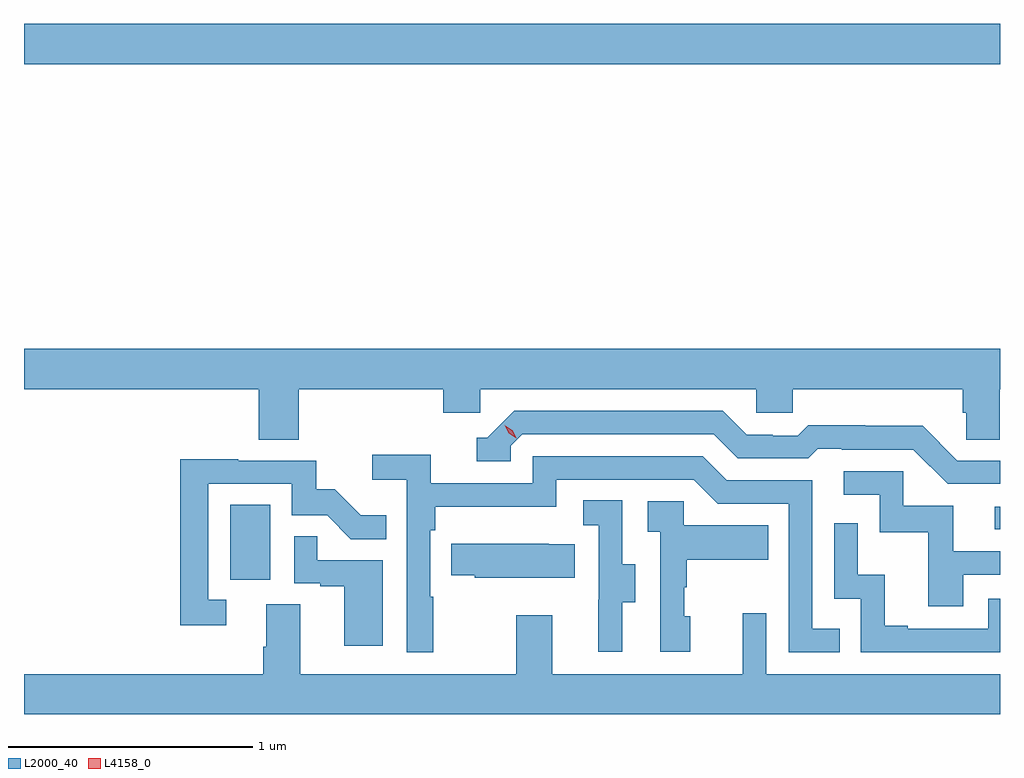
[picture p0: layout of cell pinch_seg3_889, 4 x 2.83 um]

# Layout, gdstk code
import gdstk
lib = gdstk.Library(unit=1e-6, precision=1e-09)
def R(c, l, rs):  # rectangles x0, y0, x1, y1
    for r in rs: c.add(gdstk.rectangle(r[:2], r[2:], *l))
def P(c, l, *ps):  # polygons
    for p in ps: c.add(gdstk.Polygon(p, *l))
L2000_40 = (2000, 40)
L4158_0 = (4158, 0)

pinch_seg3_889 = lib.new_cell('pinch_seg3_889')
R(pinch_seg3_889, L2000_40, [(875.498,702.798,875.662,703.105), (878.631,703.005,878.653,703.098), (874.653,704.912,878.653,705.076)])
P(pinch_seg3_889, L2000_40, [(875.78,703.58),(876.371,703.58),(876.371,703.482),(876.522,703.482),(876.522,703.58),(877.653,703.58),(877.653,703.482),(877.803,703.482),(877.803,703.58),(878.501,703.58),(878.501,703.482),(878.515,703.482),(878.515,703.372),(878.652,703.372),(878.652,703.58),(878.653,703.58),(878.653,703.744),(874.653,703.744),(874.653,703.58),(875.615,703.58),(875.615,703.372),(875.78,703.372)],
  [(878.653,703.287),(878.478,703.287),(878.336,703.429),(878.1,703.429),(878.1,703.432),(877.867,703.432),(877.825,703.389),(877.722,703.389),(877.722,703.392),(877.615,703.392),(877.516,703.491),(876.663,703.491),(876.552,703.38),(876.509,703.38),(876.509,703.284),(876.648,703.284),(876.648,703.347),(876.696,703.395),(877.479,703.395),(877.578,703.296),(877.867,703.296),(877.906,703.335),(878.005,703.335),(878.005,703.332),(878.298,703.332),(878.439,703.191),(878.653,703.191)],
  [(876.331,702.728),(876.318,702.728),(876.318,703.001),(876.338,703.001),(876.338,703.097),(876.834,703.097),(876.834,703.209),(877.398,703.209),(877.497,703.11),(877.788,703.11),(877.788,702.501),(877.997,702.501),(877.997,702.597),(877.884,702.597),(877.884,703.206),(877.534,703.206),(877.435,703.305),(876.738,703.305),(876.738,703.194),(876.32,703.194),(876.32,703.31),(876.081,703.31),(876.081,703.208),(876.222,703.208),(876.222,702.501),(876.331,702.501)],
  [(875.482,702.717),(875.409,702.717),(875.409,703.191),(875.751,703.191),(875.751,703.062),(875.895,703.062),(875.993,702.964),(876.137,702.964),(876.137,703.063),(876.033,703.063),(875.926,703.17),(875.85,703.17),(875.85,703.287),(875.531,703.287),(875.531,703.292),(875.293,703.292),(875.293,702.612),(875.482,702.612)],
  [(878.503,702.819),(878.653,702.819),(878.653,702.915),(878.461,702.915),(878.461,703.101),(878.256,703.101),(878.256,703.242),(878.013,703.242),(878.013,703.146),(878.16,703.146),(878.16,702.993),(878.359,702.993),(878.359,702.69),(878.503,702.69)],
  [(877.105,702.706),(877.159,702.706),(877.159,702.861),(877.104,702.861),(877.104,703.124),(876.945,703.124),(876.945,703.021),(877.008,703.021),(877.008,702.717),(877.007,702.717),(877.007,702.504),(877.105,702.504)],
  [(877.384,702.648),(877.359,702.648),(877.359,702.767),(877.369,702.767),(877.369,702.881),(877.703,702.881),(877.703,703.021),(877.356,703.021),(877.356,703.119),(877.209,703.119),(877.209,702.995),(877.26,702.995),(877.26,702.504),(877.384,702.504)],
  [(878.653,702.72),(878.604,702.72),(878.604,702.597),(878.275,702.597),(878.275,702.61),(878.18,702.61),(878.18,702.818),(878.07,702.818),(878.07,703.03),(877.974,703.03),(877.974,702.72),(878.082,702.72),(878.082,702.501),(878.653,702.501)],
  [(876.124,702.879),(875.855,702.879),(875.855,702.977),(875.76,702.977),(875.76,702.783),(875.867,702.783),(875.867,702.771),(875.966,702.771),(875.966,702.528),(876.124,702.528)],
  [(876.911,702.943),(876.803,702.943),(876.803,702.946),(876.403,702.946),(876.403,702.817),(876.501,702.817),(876.501,702.806),(876.911,702.806)],
  [(878.653,702.412),(877.695,702.412),(877.695,702.661),(877.598,702.661),(877.598,702.412),(876.817,702.412),(876.817,702.652),(876.67,702.652),(876.67,702.412),(875.785,702.412),(875.785,702.698),(875.645,702.698),(875.645,702.524),(875.633,702.524),(875.633,702.412),(874.653,702.412),(874.653,702.248),(878.653,702.248)])
P(pinch_seg3_889, L4158_0, [(876.67,703.379),(876.639,703.398),(876.623,703.431),(876.623,703.431),(876.623,703.431),(876.654,703.412),(876.67,703.38),(876.67,703.379)])

lib.write_gds('pinch_seg3_889.gds')
